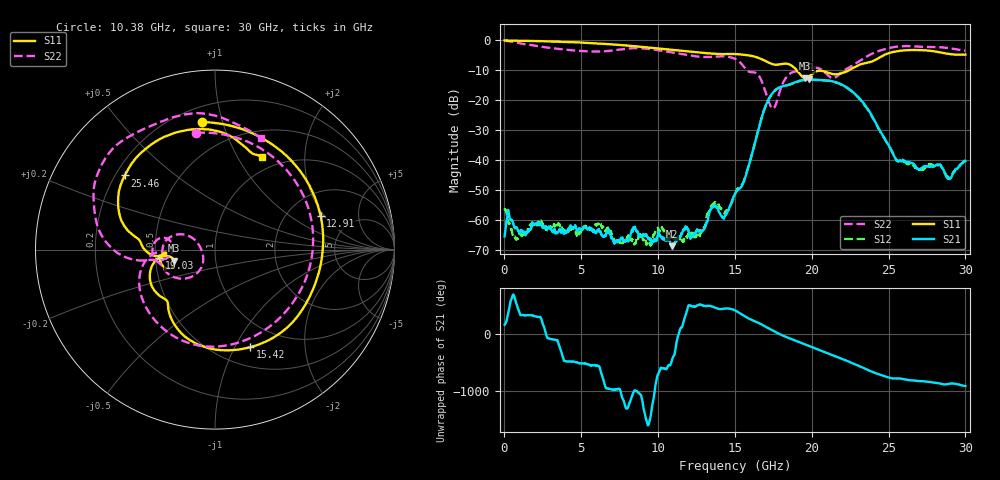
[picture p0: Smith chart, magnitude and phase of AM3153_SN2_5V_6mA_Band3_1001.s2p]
!Agilent Technologies,E8364B,MY43040894,A.07.50.67
!Agilent E8364B: A.07.50.67
!Date: Wednesday, May 13, 2020 06:22:50
!Correction: S11(Full 2 Port(1,2))
!S21(Full 2 Port(1,2))
!S12(Full 2 Port(1,2))
!S22(Full 2 Port(1,2))
!S2P File: Measurements: S11, S21, S12, S22:
# Hz S  dB  R 50
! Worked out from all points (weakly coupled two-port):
!   1601 points, 10 MHz to 30 GHz, reference 50 ohm
!   highest |S21| = -13.07 dB at 19.82 GHz (marker M1); lowest = -68.8 dB at 10.92 GHz (marker M2)
!   lowest |S11| = -12.6 dB at 19.56 GHz (marker M3), VSWR 1.62, Z = 31.3 - j4.07 ohm
!   |S11| at or under -10 dB: 19.02 GHz to 22.41 GHz (3.392 GHz wide, 16.4 % of centre)
!   |S22| runs from -22.8 to -0.1 dB; largest |S21 - S12| = 0.0044
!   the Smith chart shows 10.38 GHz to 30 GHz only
!   S11 on the Smith chart (normalised r, x): 10.38 GHz: 0.29, +0.86; 12.91 GHz: 3.02, +1.84; 15.42 GHz: 0.70, -1.15; 19.03 GHz: 0.52, -0.05; 25.46 GHz: 0.24, +0.34; 30 GHz: 0.82, +1.27
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1e7  -0.05 -2.0  -65.50 164.1  -56.14 -91.9  -0.12 -4.6
1.2096e9  -0.19 -34.6  -64.15 -24.0  -65.05 -80.5  -1.21 -80.1
2.634125e9  -0.31 -73.4  -62.22 68.0  -62.60 162.5  -2.33 -156.4
5.014581e9  -0.77 -133.3  -63.11 -153.4  -63.50 -158.5  -3.56 92.1
6.589056e9  -1.22 -170.5  -65.37 138.1  -63.62 131.5  -3.64 -2.4
7.751169e9  -1.66 162.3  -66.75 -80.9  -67.21 -16.5  -2.90 -92.3
8.800819e9  -2.14 136.9  -65.58 30.8  -64.96 19.9  -2.62 -170.0
1.001916e10  -2.73 105.6  -63.85 25.7  -63.18 124.1  -3.32 118.0
1.037529e10  -2.91 96.0  -66.08 116.1  -64.04 71.2  -3.62 99.1
1.091886e10  -3.19 80.7  -68.77 -82.4  -66.90 -78.9  -4.07 71.5
1.29057e10  -4.18 17.7  -63.49 140.5  -62.91 136.7  -5.58 -29.9
1.5005e10  -4.60 -55.0  -51.31 56.5  -51.38 58.9  -6.19 -145.3
1.541736e10  -4.76 -70.4  -48.93 -10.9  -48.48 -8.1  -7.82 -168.5
1.746043e10  -8.01 -131.4  -17.56 60.6  -17.57 60.5  -22.80 -166.6
1.903491e10  -10.07 -171.6  -13.81 -124.6  -13.91 -124.0  -10.37 -159.1
1.955973e10  -12.57 -164.9  -13.14 178.8  -13.23 179.5  -9.99 -165.4
1.982214e10  -12.02 -158.0  -13.07 150.7  -13.17 151.5  -9.53 -169.5
2.000958e10  -11.28 -157.4  -13.11 130.9  -13.18 131.8  -9.24 -173.4
2.267119e10  -9.31 -174.4  -17.24 -153.2  -17.38 -152.7  -8.38 -171.2
2.501416e10  -4.29 152.1  -35.06 -42.5  -35.29 -38.1  -2.61 156.1
2.546401e10  -3.73 140.6  -39.64 -60.6  -39.53 -59.6  -2.18 147.1
3e10  -4.78 63.3  -40.30 167.2  -39.99 161.2  -3.46 67.7
